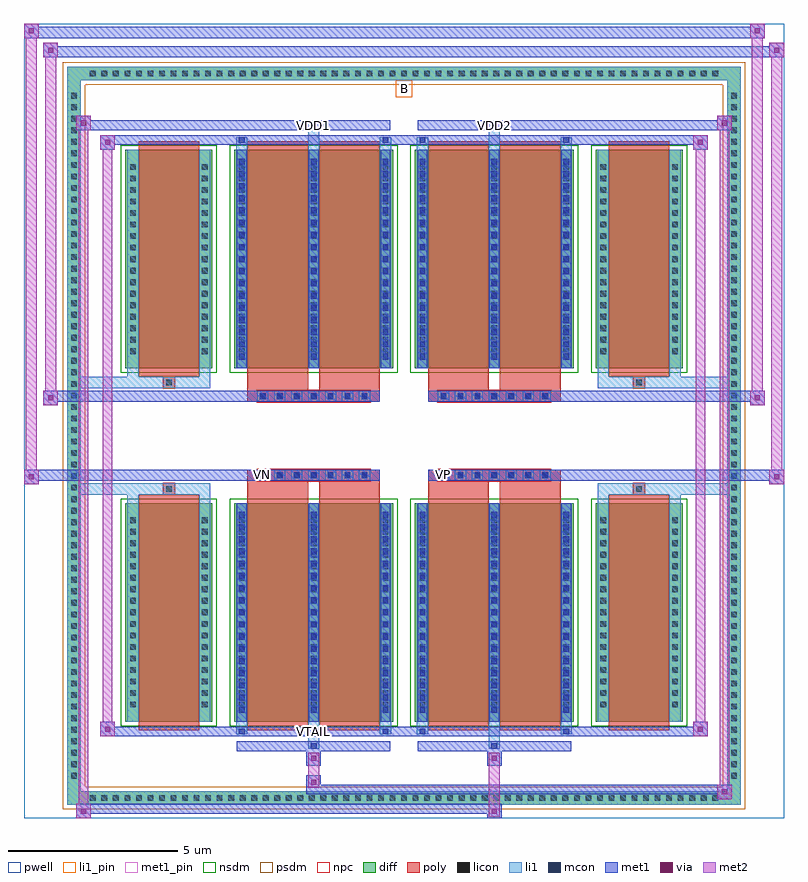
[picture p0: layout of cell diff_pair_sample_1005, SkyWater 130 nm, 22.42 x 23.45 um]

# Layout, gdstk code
import gdstk
lib = gdstk.Library(unit=1e-6, precision=5e-09)
def R(c, l, rs):  # rectangles x0, y0, x1, y1
    for r in rs: c.add(gdstk.rectangle(r[:2], r[2:], *l))
def A(c, l, x, y, w, h, nx, ny, dx, dy):  # array of equal rectangles
    R(c, l, [(x+i*dx, y+j*dy, x+i*dx+w, y+j*dy+h) for i in range(nx) for j in range(ny)])
def P(c, l, *ps):  # polygons
    for p in ps: c.add(gdstk.Polygon(p, *l))
pwell = (64, 44)
diff = (65, 20)
poly = (66, 20)
licon = (66, 44)
li1_pin = (67, 16)
li1 = (67, 20)
mcon = (67, 44)
met1_pin = (68, 16)
met1 = (68, 20)
via = (68, 44)
met2 = (69, 20)
nsdm = (93, 44)
psdm = (94, 20)
npc = (95, 20)

diff_pair_sample_1005 = lib.new_cell('diff_pair_sample_1005')
R(diff_pair_sample_1005, pwell, [(-11.21,-11.29,11.21,12.16), (-8.53,-9.48,-0.01,-0.8), (0.01,-9.48,8.53,-0.8), (-8.53,0.8,-0.01,9.48), (0.01,0.8,8.53,9.48)])
A(diff_pair_sample_1005, diff, -9.385, -10.89, 0.41, 0.41, 55, 2, 0.34, 21.37)
A(diff_pair_sample_1005, diff, -9.94, -10.235, 0.41, 0.41, 1, 60, 0, 0.34)
A(diff_pair_sample_1005, diff, 9.53, -10.235, 0.41, 0.41, 1, 60, 0, 0.34)
R(diff_pair_sample_1005, diff, [(-9.385,-10.89,9.385,-10.48), (-9.94,-10.235,-9.53,10.235), (9.53,-10.235,9.94,10.235), (-8.22,-8.435,-5.65,-1.985), (-5.01,-8.435,-0.32,-1.985), (0.32,-8.435,5.01,-1.985), (5.65,-8.435,8.22,-1.985), (-8.22,1.985,-5.65,8.435), (-5.01,1.985,-0.32,8.435), (0.32,1.985,5.01,8.435), (5.65,1.985,8.22,8.435), (-9.385,10.48,9.385,10.89)])
P(diff_pair_sample_1005, diff, [(9.94,10.89),(-9.94,10.89),(-9.94,-10.48),(-9.53,-10.48),(-9.53,10.48),(9.53,10.48),(9.53,-10.48),(-9.53,-10.48),(-9.94,-10.48),(-9.94,-10.89),(9.94,-10.89)])
A(diff_pair_sample_1005, poly, -4.33, -1.33, 0.33, 0.33, 7, 2, 0.5, 2.33)
A(diff_pair_sample_1005, poly, 1, -1.33, 0.33, 0.33, 7, 2, 0.5, 2.33)
R(diff_pair_sample_1005, poly, [(-7.83,-8.685,-6.04,-1.735), (-4.62,-8.685,-2.83,-1.735), (-2.5,-8.685,-0.71,-1.735), (0.71,-8.685,2.5,-1.735), (2.83,-8.685,4.62,-1.735), (6.04,-8.685,7.83,-1.735), (-7.1,-1.735,-6.77,-1.405), (-7.1,-1.735,-6.77,-1.405), (-4.62,-1.735,-2.83,-1.33), (-2.5,-1.735,-0.71,-1.33), (0.71,-1.735,2.5,-1.33), (2.83,-1.735,4.62,-1.33), (6.77,-1.735,7.1,-1.405), (6.77,-1.735,7.1,-1.405), (-4.62,-1.33,-0.71,-1), (0.71,-1.33,4.62,-1), (-4.62,1,-0.71,1.33), (0.71,1,4.62,1.33), (-4.62,1.33,-2.83,1.735), (-2.5,1.33,-0.71,1.735), (0.71,1.33,2.5,1.735), (2.83,1.33,4.62,1.735), (-7.1,1.405,-6.77,1.735), (-7.1,1.405,-6.77,1.735), (6.77,1.405,7.1,1.735), (6.77,1.405,7.1,1.735), (-7.83,1.735,-6.04,8.685), (-4.62,1.735,-2.83,8.685), (-2.5,1.735,-0.71,8.685), (0.71,1.735,2.5,8.685), (2.83,1.735,4.62,8.685), (6.04,1.735,7.83,8.685)])
A(diff_pair_sample_1005, licon, -9.265, -10.77, 0.17, 0.17, 55, 2, 0.34, 21.37)
A(diff_pair_sample_1005, licon, -9.82, -10.115, 0.17, 0.17, 1, 60, 0, 0.34)
A(diff_pair_sample_1005, licon, 9.65, -10.115, 0.17, 0.17, 1, 60, 0, 0.34)
A(diff_pair_sample_1005, licon, -8.08, -8.015, 0.17, 0.17, 1, 17, 0, 0.34)
A(diff_pair_sample_1005, licon, -5.96, -8.015, 0.17, 0.17, 1, 17, 0, 0.34)
A(diff_pair_sample_1005, licon, -4.87, -8.015, 0.17, 0.17, 3, 17, 2.12, 0.34)
A(diff_pair_sample_1005, licon, 0.46, -8.015, 0.17, 0.17, 3, 17, 2.12, 0.34)
A(diff_pair_sample_1005, licon, 5.79, -8.015, 0.17, 0.17, 1, 17, 0, 0.34)
A(diff_pair_sample_1005, licon, 7.91, -8.015, 0.17, 0.17, 1, 17, 0, 0.34)
A(diff_pair_sample_1005, licon, -4.25, -1.25, 0.17, 0.17, 7, 2, 0.5, 2.33)
A(diff_pair_sample_1005, licon, 1.08, -1.25, 0.17, 0.17, 7, 2, 0.5, 2.33)
A(diff_pair_sample_1005, licon, -8.08, 2.405, 0.17, 0.17, 1, 17, 0, 0.34)
A(diff_pair_sample_1005, licon, -5.96, 2.405, 0.17, 0.17, 1, 17, 0, 0.34)
A(diff_pair_sample_1005, licon, -4.87, 2.405, 0.17, 0.17, 3, 17, 2.12, 0.34)
A(diff_pair_sample_1005, licon, 0.46, 2.405, 0.17, 0.17, 3, 17, 2.12, 0.34)
A(diff_pair_sample_1005, licon, 5.79, 2.405, 0.17, 0.17, 1, 17, 0, 0.34)
A(diff_pair_sample_1005, licon, 7.91, 2.405, 0.17, 0.17, 1, 17, 0, 0.34)
R(diff_pair_sample_1005, licon, [(-7.02,-1.655,-6.85,-1.485), (6.85,-1.655,7.02,-1.485), (-7.02,1.485,-6.85,1.655), (6.85,1.485,7.02,1.655)])
R(diff_pair_sample_1005, li1_pin, [(-0.25,9.98,0.25,10.48)])
A(diff_pair_sample_1005, li1, -9.345, -10.85, 0.33, 0.33, 55, 2, 0.34, 21.37)
A(diff_pair_sample_1005, li1, -9.9, -10.195, 0.33, 0.33, 1, 60, 0, 0.34)
A(diff_pair_sample_1005, li1, 9.57, -10.195, 0.33, 0.33, 1, 60, 0, 0.34)
A(diff_pair_sample_1005, li1, -4.95, -8.435, 0.33, 6.45, 3, 2, 2.12, 10.42)
A(diff_pair_sample_1005, li1, 0.38, -8.435, 0.33, 6.45, 3, 2, 2.12, 10.42)
A(diff_pair_sample_1005, li1, -4.87, -8.175, 0.17, 0.17, 3, 17, 2.12, 0.36)
A(diff_pair_sample_1005, li1, -4.87, -8.175, 0.17, 5.93, 3, 2, 2.12, 10.42)
A(diff_pair_sample_1005, li1, 0.46, -8.175, 0.17, 0.17, 3, 17, 2.12, 0.36)
A(diff_pair_sample_1005, li1, 0.46, -8.175, 0.17, 5.93, 3, 2, 2.12, 10.42)
A(diff_pair_sample_1005, li1, -8.16, -8.095, 0.33, 0.33, 1, 17, 0, 0.34)
A(diff_pair_sample_1005, li1, -6.04, -8.095, 0.33, 0.33, 1, 17, 0, 0.34)
A(diff_pair_sample_1005, li1, -4.95, -8.095, 0.33, 0.33, 3, 17, 2.12, 0.34)
A(diff_pair_sample_1005, li1, 0.38, -8.095, 0.33, 0.33, 3, 17, 2.12, 0.34)
A(diff_pair_sample_1005, li1, 5.71, -8.095, 0.33, 0.33, 1, 17, 0, 0.34)
A(diff_pair_sample_1005, li1, 7.83, -8.095, 0.33, 0.33, 1, 17, 0, 0.34)
A(diff_pair_sample_1005, li1, -4.33, -1.33, 0.33, 0.33, 7, 2, 0.5, 2.33)
A(diff_pair_sample_1005, li1, 1, -1.33, 0.33, 0.33, 7, 2, 0.5, 2.33)
A(diff_pair_sample_1005, li1, -4.87, 2.245, 0.17, 0.17, 3, 17, 2.12, 0.36)
A(diff_pair_sample_1005, li1, 0.46, 2.245, 0.17, 0.17, 3, 17, 2.12, 0.36)
A(diff_pair_sample_1005, li1, -8.16, 2.325, 0.33, 0.33, 1, 17, 0, 0.34)
A(diff_pair_sample_1005, li1, -6.04, 2.325, 0.33, 0.33, 1, 17, 0, 0.34)
A(diff_pair_sample_1005, li1, -4.95, 2.325, 0.33, 0.33, 3, 17, 2.12, 0.34)
A(diff_pair_sample_1005, li1, 0.38, 2.325, 0.33, 0.33, 3, 17, 2.12, 0.34)
A(diff_pair_sample_1005, li1, 5.71, 2.325, 0.33, 0.33, 1, 17, 0, 0.34)
A(diff_pair_sample_1005, li1, 7.83, 2.325, 0.33, 0.33, 1, 17, 0, 0.34)
R(diff_pair_sample_1005, li1, [(-9.94,-10.89,-9.53,-10.48), (-9.94,-10.89,-9.53,-10.48), (-9.53,-10.89,9.53,-10.48), (9.53,-10.89,9.94,-10.48), (9.53,-10.89,9.94,-10.48), (-9.94,-10.48,-9.53,10.48), (9.53,-10.48,9.94,10.48), (-2.83,-9.24,-2.5,-8.435), (-2.75,-9.24,-2.58,-9.07), (2.5,-9.24,2.83,-8.435), (2.58,-9.24,2.75,-9.07), (-4.95,-8.81,-4.62,-8.435), (-4.87,-8.81,-4.7,-8.64), (-0.71,-8.81,-0.38,-8.435), (-0.63,-8.81,-0.46,-8.64), (0.38,-8.81,0.71,-8.435), (0.46,-8.81,0.63,-8.64), (4.62,-8.81,4.95,-8.435), (4.7,-8.81,4.87,-8.64), (-8.16,-8.435,-7.83,-1.985), (-6.04,-8.435,-5.71,-1.985), (5.71,-8.435,6.04,-1.985), (7.83,-8.435,8.16,-1.985), (-8.16,-1.985,-7.83,-1.405), (-6.04,-1.985,-5.71,-1.405), (5.71,-1.985,6.04,-1.405), (7.83,-1.985,8.16,-1.405), (-9.94,-1.735,-7.1,-1.405), (-8.16,-1.735,-7.1,-1.405), (-7.1,-1.735,-6.77,-1.405), (-6.77,-1.735,-5.71,-1.405), (5.71,-1.735,6.77,-1.405), (6.77,-1.735,7.1,-1.405), (6.77,-1.735,9.94,-1.405), (7.1,-1.735,8.16,-1.405), (-9.94,1.405,-7.1,1.735), (-8.16,1.405,-7.1,1.735), (-8.16,1.405,-7.83,1.985), (-7.1,1.405,-6.77,1.735), (-6.77,1.405,-5.71,1.735), (-6.04,1.405,-5.71,1.985), (5.71,1.405,6.77,1.735), (5.71,1.405,6.04,1.985), (6.77,1.405,7.1,1.735), (6.77,1.405,9.94,1.735), (7.1,1.405,8.16,1.735), (7.83,1.405,8.16,1.985), (-8.16,1.985,-7.83,8.435), (-6.04,1.985,-5.71,8.435), (5.71,1.985,6.04,8.435), (7.83,1.985,8.16,8.435), (-4.95,8.435,-4.62,8.81), (-2.83,8.435,-2.5,9.24), (-0.71,8.435,-0.38,8.81), (0.38,8.435,0.71,8.81), (2.5,8.435,2.83,9.24), (4.62,8.435,4.95,8.81), (-4.87,8.64,-4.7,8.81), (-0.63,8.64,-0.46,8.81), (0.46,8.64,0.63,8.81), (4.7,8.64,4.87,8.81), (-2.75,9.07,-2.58,9.24), (2.58,9.07,2.75,9.24), (-9.94,10.48,-9.53,10.89), (-9.94,10.48,-9.53,10.89), (-9.53,10.48,9.53,10.89), (9.53,10.48,9.94,10.89), (9.53,10.48,9.94,10.89)])
A(diff_pair_sample_1005, mcon, -4.87, -8.175, 0.17, 0.17, 3, 17, 2.12, 0.36)
A(diff_pair_sample_1005, mcon, 0.46, -8.175, 0.17, 0.17, 3, 17, 2.12, 0.36)
A(diff_pair_sample_1005, mcon, -4.25, -1.25, 0.17, 0.17, 7, 2, 0.5, 2.33)
A(diff_pair_sample_1005, mcon, 1.08, -1.25, 0.17, 0.17, 7, 2, 0.5, 2.33)
A(diff_pair_sample_1005, mcon, -4.87, 2.245, 0.17, 0.17, 3, 17, 2.12, 0.36)
A(diff_pair_sample_1005, mcon, 0.46, 2.245, 0.17, 0.17, 3, 17, 2.12, 0.36)
R(diff_pair_sample_1005, mcon, [(-2.75,-9.24,-2.58,-9.07), (2.58,-9.24,2.75,-9.07), (-4.87,-8.81,-4.7,-8.64), (-0.63,-8.81,-0.46,-8.64), (0.46,-8.81,0.63,-8.64), (4.7,-8.81,4.87,-8.64), (-4.87,8.64,-4.7,8.81), (-0.63,8.64,-0.46,8.81), (0.46,8.64,0.63,8.81), (4.7,8.64,4.87,8.81), (-2.75,9.07,-2.58,9.24), (2.58,9.07,2.75,9.24)])
R(diff_pair_sample_1005, met1_pin, [(-2.8,-8.85,-2.53,-8.58), (-4.3,-1.29,-4.03,-1.02), (1.03,-1.29,1.3,-1.02), (-2.8,9.03,-2.53,9.3), (2.53,9.03,2.8,9.3)])
A(diff_pair_sample_1005, met1, -4.93, -8.435, 0.29, 6.45, 3, 2, 2.12, 10.42)
A(diff_pair_sample_1005, met1, 0.4, -8.435, 0.29, 6.45, 3, 2, 2.12, 10.42)
A(diff_pair_sample_1005, met1, -4.93, -8.235, 0.29, 0.29, 3, 17, 2.12, 0.36)
A(diff_pair_sample_1005, met1, 0.4, -8.235, 0.29, 0.29, 3, 17, 2.12, 0.36)
A(diff_pair_sample_1005, met1, -4.31, -1.31, 0.29, 0.29, 7, 2, 0.5, 2.33)
A(diff_pair_sample_1005, met1, 1.02, -1.31, 0.29, 0.29, 7, 2, 0.5, 2.33)
A(diff_pair_sample_1005, met1, -4.93, 2.185, 0.29, 0.29, 3, 17, 2.12, 0.36)
A(diff_pair_sample_1005, met1, 0.4, 2.185, 0.29, 0.29, 3, 17, 2.12, 0.36)
R(diff_pair_sample_1005, met1, [(-9.67,-11.29,-9.24,-10.86), (2.45,-11.29,2.88,-10.86), (-9.67,-11.15,2.88,-10.86), (9.24,-10.72,9.67,-10.29), (-2.88,-10.58,9.67,-10.29), (-2.88,-10.44,-2.45,-10.01), (-2.88,-9.73,-2.45,-9.3), (2.45,-9.73,2.88,-9.3), (-4.93,-9.3,-0.4,-9.01), (-2.81,-9.3,-2.52,-9.01), (0.4,-9.3,4.93,-9.01), (2.52,-9.3,2.81,-9.01), (-8.96,-8.87,-8.53,-8.44), (-8.96,-8.87,-4.93,-8.58), (-4.93,-8.87,-4.64,-8.58), (-4.93,-8.87,-0.4,-8.58), (-0.69,-8.87,-0.4,-8.58), (-0.4,-8.87,0.4,-8.58), (0.4,-8.87,0.69,-8.58), (0.4,-8.87,4.93,-8.58), (4.64,-8.87,4.93,-8.58), (4.93,-8.87,8.96,-8.58), (8.53,-8.87,8.96,-8.44), (-11.21,-1.43,-10.78,-1), (10.78,-1.43,11.21,-1), (-11.21,-1.33,-0.71,-1), (-4.62,-1.33,-0.71,-1), (0.71,-1.33,4.62,-1), (0.71,-1.33,11.21,-1), (-10.64,0.9,-10.21,1.33), (10.21,0.9,10.64,1.33), (-10.64,1,-4.62,1.33), (-4.62,1,-0.71,1.33), (0.71,1,4.62,1.33), (4.62,1,10.64,1.33), (-8.96,8.44,-8.53,8.87), (8.53,8.44,8.96,8.87), (-8.96,8.58,-4.93,8.87), (-4.93,8.58,-4.64,8.87), (-4.93,8.58,-0.4,8.87), (-0.69,8.58,-0.4,8.87), (-0.4,8.58,0.4,8.87), (0.4,8.58,0.69,8.87), (0.4,8.58,4.93,8.87), (4.64,8.58,4.93,8.87), (4.93,8.58,8.96,8.87), (-9.67,9.01,-9.24,9.44), (-9.67,9.01,-4.93,9.3), (-4.93,9.01,-0.4,9.3), (-2.81,9.01,-2.52,9.3), (0.4,9.01,4.93,9.3), (2.52,9.01,2.81,9.3), (4.93,9.01,9.67,9.3), (9.24,9.01,9.67,9.44), (-10.64,11.16,-10.21,11.59), (-10.64,11.16,-8.53,11.49), (-8.53,11.16,8.53,11.49), (8.53,11.16,11.21,11.49), (10.78,11.16,11.21,11.59), (-11.21,11.73,-10.78,12.16), (-11.21,11.73,-8.53,12.06), (-8.53,11.73,8.53,12.06), (8.53,11.73,10.64,12.06), (10.21,11.73,10.64,12.16)])
R(diff_pair_sample_1005, via, [(-9.53,-11.15,-9.38,-11), (2.59,-11.15,2.74,-11), (9.38,-10.58,9.53,-10.43), (-2.74,-10.3,-2.59,-10.15), (-2.74,-9.59,-2.59,-9.44), (2.59,-9.59,2.74,-9.44), (-8.82,-8.73,-8.67,-8.58), (8.67,-8.73,8.82,-8.58), (-11.07,-1.29,-10.92,-1.14), (10.92,-1.29,11.07,-1.14), (-10.5,1.04,-10.35,1.19), (10.35,1.04,10.5,1.19), (-8.82,8.58,-8.67,8.73), (8.67,8.58,8.82,8.73), (-9.53,9.15,-9.38,9.3), (9.38,9.15,9.53,9.3), (-10.5,11.3,-10.35,11.45), (10.92,11.3,11.07,11.45), (-11.07,11.87,-10.92,12.02), (10.35,11.87,10.5,12.02)])
R(diff_pair_sample_1005, met2, [(-9.67,-11.29,-9.24,-10.86), (-9.6,-11.29,-9.31,9.44), (-9.31,-11.29,-9.24,-10.86), (-9.62,-11.24,-9.29,-10.91), (2.5,-11.24,2.83,-10.91), (2.5,-10.91,2.83,-9.68), (9.24,-10.72,9.67,-10.29), (9.31,-10.72,9.6,9.44), (9.6,-10.72,9.67,-10.29), (9.29,-10.67,9.62,-10.34), (-2.83,-10.39,-2.5,-10.06), (-2.83,-10.06,-2.5,-9.68), (-2.83,-9.68,-2.5,-9.35), (2.5,-9.68,2.83,-9.35), (-8.96,-8.87,-8.53,-8.44), (-8.89,-8.87,-8.6,8.87), (-8.6,-8.87,-8.53,-8.44), (8.53,-8.87,8.96,-8.44), (8.6,-8.87,8.89,8.87), (8.89,-8.87,8.96,-8.44), (-8.91,-8.82,-8.58,-8.49), (8.58,-8.82,8.91,-8.49), (-11.21,-1.43,-10.78,-1), (-11.16,-1.43,-10.83,12.16), (-10.83,-1.43,-10.78,-1), (10.78,-1.43,11.21,-1), (10.83,-1.43,11.16,11.59), (11.16,-1.43,11.21,-1), (-11.16,-1.38,-10.83,-1.05), (10.83,-1.38,11.16,-1.05), (-10.64,0.9,-10.21,1.33), (-10.59,0.9,-10.26,11.59), (-10.26,0.9,-10.21,1.33), (10.21,0.9,10.64,1.33), (10.26,0.9,10.59,12.16), (10.59,0.9,10.64,1.33), (-10.59,0.95,-10.26,1.28), (10.26,0.95,10.59,1.28), (-8.96,8.44,-8.53,8.87), (-8.6,8.44,-8.53,8.87), (8.53,8.44,8.96,8.87), (8.89,8.44,8.96,8.87), (-8.91,8.49,-8.58,8.82), (8.58,8.49,8.91,8.82), (-9.67,9.01,-9.24,9.44), (-9.31,9.01,-9.24,9.44), (9.24,9.01,9.67,9.44), (9.6,9.01,9.67,9.44), (-9.62,9.06,-9.29,9.39), (9.29,9.06,9.62,9.39), (-10.64,11.16,-10.21,11.59), (-10.26,11.16,-10.21,11.59), (10.78,11.16,11.21,11.59), (11.16,11.16,11.21,11.59), (-10.59,11.21,-10.26,11.54), (10.83,11.21,11.16,11.54), (-11.21,11.73,-10.78,12.16), (-10.83,11.73,-10.78,12.16), (10.21,11.73,10.64,12.16), (10.59,11.73,10.64,12.16), (-11.16,11.78,-10.83,12.11), (10.26,11.78,10.59,12.11)])
R(diff_pair_sample_1005, nsdm, [(-8.35,-8.565,-5.52,-1.855), (-5.14,-8.565,-0.19,-1.855), (0.19,-8.565,5.14,-1.855), (5.52,-8.565,8.35,-1.855), (-8.35,1.855,-5.52,8.565), (-5.14,1.855,-0.19,8.565), (0.19,1.855,5.14,8.565), (5.52,1.855,8.35,8.565)])
P(diff_pair_sample_1005, psdm, [(10.07,11.02),(-10.07,11.02),(-10.07,-10.35),(-9.4,-10.35),(-9.4,10.35),(9.4,10.35),(9.4,-10.35),(-9.4,-10.35),(-10.07,-10.35),(-10.07,-11.02),(10.07,-11.02)])
A(diff_pair_sample_1005, npc, -4.35, -1.35, 0.37, 0.37, 7, 2, 0.5, 2.33)
A(diff_pair_sample_1005, npc, 0.98, -1.35, 0.37, 0.37, 7, 2, 0.5, 2.33)
R(diff_pair_sample_1005, npc, [(-7.12,-1.755,-6.75,-1.385), (6.75,-1.755,7.12,-1.385), (-4.35,-1.35,-3.48,-0.98), (-4.35,-1.35,-3.48,-0.98), (-3.85,-1.35,-2.98,-0.98), (-3.85,-1.35,-2.98,-0.98), (-3.35,-1.35,-2.48,-0.98), (-3.35,-1.35,-2.48,-0.98), (-2.85,-1.35,-1.98,-0.98), (-2.85,-1.35,-1.98,-0.98), (-2.35,-1.35,-1.48,-0.98), (-2.35,-1.35,-1.48,-0.98), (-1.85,-1.35,-0.98,-0.98), (-1.85,-1.35,-0.98,-0.98), (0.98,-1.35,1.85,-0.98), (0.98,-1.35,1.85,-0.98), (1.48,-1.35,2.35,-0.98), (1.48,-1.35,2.35,-0.98), (1.98,-1.35,2.85,-0.98), (1.98,-1.35,2.85,-0.98), (2.48,-1.35,3.35,-0.98), (2.48,-1.35,3.35,-0.98), (2.98,-1.35,3.85,-0.98), (2.98,-1.35,3.85,-0.98), (3.48,-1.35,4.35,-0.98), (3.48,-1.35,4.35,-0.98), (-4.35,0.98,-3.48,1.35), (-4.35,0.98,-3.48,1.35), (-3.85,0.98,-2.98,1.35), (-3.85,0.98,-2.98,1.35), (-3.35,0.98,-2.48,1.35), (-3.35,0.98,-2.48,1.35), (-2.85,0.98,-1.98,1.35), (-2.85,0.98,-1.98,1.35), (-2.35,0.98,-1.48,1.35), (-2.35,0.98,-1.48,1.35), (-1.85,0.98,-0.98,1.35), (-1.85,0.98,-0.98,1.35), (0.98,0.98,1.85,1.35), (0.98,0.98,1.85,1.35), (1.48,0.98,2.35,1.35), (1.48,0.98,2.35,1.35), (1.98,0.98,2.85,1.35), (1.98,0.98,2.85,1.35), (2.48,0.98,3.35,1.35), (2.48,0.98,3.35,1.35), (2.98,0.98,3.85,1.35), (2.98,0.98,3.85,1.35), (3.48,0.98,4.35,1.35), (3.48,0.98,4.35,1.35), (-7.12,1.385,-6.75,1.755), (6.75,1.385,7.12,1.755)])
diff_pair_sample_1005.add(gdstk.Label('VTAIL', (-2.665,-8.715), layer=68, texttype=5))
diff_pair_sample_1005.add(gdstk.Label('VN', (-4.165,-1.155), layer=68, texttype=5))
diff_pair_sample_1005.add(gdstk.Label('VP', (1.165,-1.155), layer=68, texttype=5))
diff_pair_sample_1005.add(gdstk.Label('B', (0,10.23), layer=67, texttype=5))
diff_pair_sample_1005.add(gdstk.Label('VDD2', (2.665,9.165), layer=68, texttype=5))
diff_pair_sample_1005.add(gdstk.Label('VDD1', (-2.665,9.165), layer=68, texttype=5))

lib.write_gds('diff_pair_sample_1005.gds')
